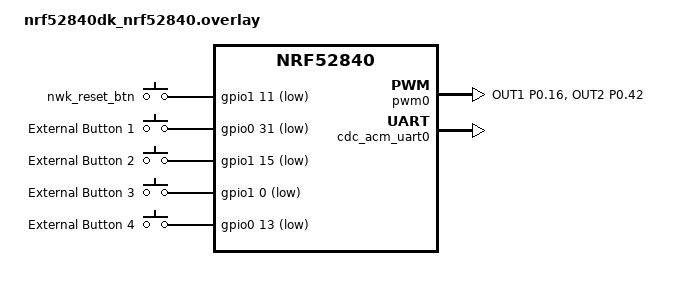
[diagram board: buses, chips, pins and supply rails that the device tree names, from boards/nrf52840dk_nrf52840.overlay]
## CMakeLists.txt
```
#
# Copyright (c) 2020 Nordic Semiconductor ASA
#
# SPDX-License-Identifier: LicenseRef-Nordic-5-Clause
#

cmake_minimum_required(VERSION 3.20.0)

find_package(Zephyr REQUIRED HINTS $ENV{ZEPHYR_BASE})

project("Zigbee coordinator")

# NORDIC SDK APP START
target_sources(app PRIVATE
  src/main.c
  src/usb_logging.c
  src/button_press_handler/button_press_handler.c
)
# NORDIC SDK APP END
```

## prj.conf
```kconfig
#
# Copyright (c) 2020 Nordic Semiconductor ASA
#
# SPDX-License-Identifier: LicenseRef-Nordic-5-Clause
#

CONFIG_NCS_SAMPLES_DEFAULTS=y

CONFIG_UART_INTERRUPT_DRIVEN=y
CONFIG_SERIAL=y
CONFIG_GPIO=y
CONFIG_PWM=y


# Debugger
CONFIG_DEBUG_OPTIMIZATIONS=y
CONFIG_DEBUG_THREAD_INFO=y

# Make sure printk is not printing to the UART console
CONFIG_CONSOLE=y

CONFIG_USE_SEGGER_RTT=n
CONFIG_RTT_CONSOLE=n
CONFIG_UART_CONSOLE=y



CONFIG_HEAP_MEM_POOL_SIZE=2048
CONFIG_MAIN_THREAD_PRIORITY=7

CONFIG_ZIGBEE=y
CONFIG_ZIGBEE_APP_UTILS=y
CONFIG_ZIGBEE_ROLE_END_DEVICE=y

# CONFIG_ZIGBEE_CHANNEL_SELECTION_MODE_SINGLE is not set
CONFIG_ZIGBEE_CHANNEL_SELECTION_MODE_MULTI=y
CONFIG_ZIGBEE_CHANNEL_MASK=0x7FFF800
# Enable DK LED and Buttons library
CONFIG_DK_LIBRARY=y

# This example requires more workqueue stack
CONFIG_SYSTEM_WORKQUEUE_STACK_SIZE=2048

# Enable nRF ECB driver
CONFIG_CRYPTO=y
CONFIG_CRYPTO_NRF_ECB=y
CONFIG_CRYPTO_INIT_PRIORITY=80

# Cryptocell is not supported through CSPRNG driver API: NCSDK-4813
CONFIG_ENTROPY_CC3XX=n

#Networking
CONFIG_NET_IPV6_MLD=n
CONFIG_NET_IPV6_NBR_CACHE=n
CONFIG_NET_IPV6_RA_RDNSS=n
CONFIG_NET_IP_ADDR_CHECK=n
CONFIG_NET_UDP=n

# Scene extension
CONFIG_ZIGBEE_SCENES=y

# CONFIG_LOG=y
# CONFIG_ZBOSS_TRACE_LOG_LEVEL_DBG=y
# CONFIG_ZBOSS_TRACE_MASK=0x0100

## START - USB LOGGING ON DONGLE
CONFIG_STDOUT_CONSOLE=y
CONFIG_USB_DEVICE_STACK=y
CONFIG_USB_DEVICE_PRODUCT="Zephyr CDC ACM sample"
CONFIG_LOG=y
CONFIG_USB_DRIVER_LOG_LEVEL_ERR=y
CONFIG_USB_DEVICE_LOG_LEVEL_ERR=y
CONFIG_SERIAL=y
CONFIG_UART_INTERRUPT_DRIVEN=y
CONFIG_UART_LINE_CTRL=y
## END - USB LOGGING ON DONGLE


# Enable API for powering down unused RAM parts
CONFIG_RAM_POWER_DOWN_LIBRARY=y


# Device power management
CONFIG_PM=y
CONFIG_PM_DEVICE=y
```

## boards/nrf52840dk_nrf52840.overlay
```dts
/*
 * Copyright (c) 2020 Nordic Semiconductor ASA
 *
 * SPDX-License-Identifier: LicenseRef-Nordic-5-Clause
 */

/ {
	chosen {
		zephyr,entropy = &rng;
	};

	pwmleds {
		pwm_led3: pwm_led_3 {
			pwms = <&pwm0 1 PWM_MSEC(20) PWM_POLARITY_INVERTED>; // P0.16 - DK LED4
		};
		ext_pwm_led: pwm_led_4 {
			pwms = <&pwm0 2 PWM_MSEC(20) PWM_POLARITY_NORMAL >; // P1.10 - external
		};
	};
    buttons {
        // Also external on the DK
        nwk_reset_btn: nwk_reset_btn {
            gpios = < &gpio1 11 0x11 >; // P1.11 (1.xx inferred by first element `gpio1`, y.11 is inferred by 0xb = 11)
            label = "nwk_reset_btn";
        };

        // External buttons
        ext_btn_1: ext_btn_1 {
            gpios = < &gpio0 31 0x11 >;
            label = "External Button 1";
        };

        ext_btn_2: ext_btn_2 {
            gpios = < &gpio1 15 0x11 >;
            label = "External Button 2";
        };

        ext_btn_3: ext_btn_3 {
            gpios = < &gpio1 0 0x11 >;
            label = "External Button 3";
        };

        ext_btn_4: ext_btn_4 {
            gpios = < &gpio0 13 0x11 >;
            label = "External Button 4";
        };
    };

    aliases {
		pwm-on-board = &pwm_led3;
		pwm-ext0 = &ext_pwm_led;
        presence-sensor = &nwk_reset_btn;
        nwk-reset-btn = &nwk_reset_btn;
    };
};

// Userd by button5
arduino_spi: &spi3 {
	status = "disabled";
};
// &pwm0 {
//     ch1-pin = < 16 >;
//     ch1-inverted;
//     ch2-pin = < 42 >;
//     ch2-inverted;
// };
&pwm0 {
	pinctrl-0 = <&pwm0_default_alt>;
	pinctrl-1 = <&pwm0_sleep_alt>;
	pinctrl-names = "default", "sleep";
};


&pinctrl {
    // The `alt` in the name is referring to this pinctrl being an alternative to the `pwm0_default` in the base device tree for the nrf52840 DK
 	pwm0_default_alt: pwm0_default_alt {
		group1 {
        // I think the items in psels need to be replicated in pwm0_sleep_alt and vice versa. Both bins should have a sleep and non sleep state defined
			psels = <NRF_PSEL(PWM_OUT1, 0, 16)>, // P0.16 - DK LED4
                    <NRF_PSEL(PWM_OUT2, 0, 42)>; // P1.10 - external
			nordic,invert;
		};
	};

	pwm0_sleep_alt: pwm0_sleep_alt {
		group1 {
			psels = <NRF_PSEL(PWM_OUT1, 0, 16)>, // P0.16 - DK LED4
                    <NRF_PSEL(PWM_OUT2, 0, 42)>; // P1.10 - external
			low-power-enable;
		};
	};

};

// This USB mode is only here so that it can be found in the usb_logging module. I was not sure how to get it working otherwise
&zephyr_udc0 {
	cdc_acm_uart0 {
		compatible = "zephyr,cdc-acm-uart";
		label = "CDC_ACM_0";
        // status = "okay";
	};
};
```

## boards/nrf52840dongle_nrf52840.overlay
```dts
/*
 * Copyright (c) 2021 Nordic Semiconductor ASA
 *
 * SPDX-License-Identifier: LicenseRef-Nordic-5-Clause
 */

/ {
	chosen {
		zephyr,entropy = &rng;
	};

	buttons {
		compatible = "gpio-keys";
		rst_button0: rst_button_0 { // Dongle docs indicates that the reset button is attached to P0.18, but it is connected to other pins too, including P0.19
			gpios = <&gpio0 19 (GPIO_PULL_UP | GPIO_ACTIVE_LOW)>; // P0.19
			label = "Reset button";
		};
        // ext_button0: ext_button_0 {
        //     // gpios = <&gpio0 29 (GPIO_PULL_UP | GPIO_ACTIVE_LOW)>;
        //     gpios = <&gpio1 0x06 (GPIO_PULL_UP | GPIO_ACTIVE_LOW)>; // P1.06
        //     label = "External button 0";
        // };

        // TODO: Disable the SPI peripheral that clashes with this button
        // External buttons
        ext_btn_1: ext_btn_1 {
            gpios = < &gpio0 31 0x11 >;
            label = "External Button 1";
        };

        ext_btn_2: ext_btn_2 {
            gpios = < &gpio1 15 0x11 >;
            label = "External Button 2";
        };

        ext_btn_3: ext_btn_3 {
            gpios = < &gpio1 0 0x11 >;
            label = "External Button 3";
        };

        ext_btn_4: ext_btn_4 {
            gpios = < &gpio0 13 0x11 >;
            label = "External Button 4";
        };
	};

    // Used by button5
    // &spi1 {
    //     status = "disabled";
    // };



    pwmleds {
		ext_pwm_led: pwm_led_3 { // pwm_led_3 is my own name for the external pwm led, to fit with the naming in the zephyr.dts file for the dongle
			// pwms = < &pwm0 42 >; // P1.10
			pwms = <&pwm0 3 PWM_MSEC(20) PWM_POLARITY_INVERTED >; // P1.10
		};
    };

	aliases {
        pwm-on-board = &blue_pwm_led;
        pwm-ext0 = &ext_pwm_led;
        nwk-reset-btn = &button0;
        // button-press-pwm-led = &red_pwm_led;
		rst0 = &rst_button0;
	};
};

// START - USB LOGGING ON DONGLE
&zephyr_udc0 {
	cdc_acm_uart0 {
		compatible = "zephyr,cdc-acm-uart";
		label = "CDC_ACM_0";
        // status = "okay";
	};
};
// END - USB LOGGING ON DONGLE


// &pwm0 {
//     ch3-pin = < 42 >; // P1.10
//     ch3-inverted;
// };

&pwm0 {
	pinctrl-0 = <&pwm0_default_alt>;
	pinctrl-1 = <&pwm0_sleep_alt>;
	pinctrl-names = "default", "sleep";
};


			// pwms = < &pwm0 42 >; // P1.10
&pinctrl {
	pwm0_default_alt: pwm0_default_alt {
		group1 {
			psels = <NRF_PSEL(PWM_OUT0, 0, 8)>,
				<NRF_PSEL(PWM_OUT1, 1, 9)>,
				<NRF_PSEL(PWM_OUT2, 0, 12)>,
				<NRF_PSEL(PWM_OUT3, 1, 10)>;
			nordic,invert;
		};
	};

	pwm0_sleep_alt: pwm0_sleep_alt {
		group1 {
			psels = <NRF_PSEL(PWM_OUT0, 0, 8)>,
				<NRF_PSEL(PWM_OUT1, 1, 9)>,
				<NRF_PSEL(PWM_OUT2, 0, 12)>,
				<NRF_PSEL(PWM_OUT3, 1, 10)>;
			low-power-enable;
		};
	};
};
```

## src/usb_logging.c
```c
#include <stdio.h>
#include <string.h>
#include <device.h>
#include <drivers/uart.h>
#include <zephyr.h>
#include <sys/ring_buffer.h>

#include <usb/usb_device.h>
#include <logging/log.h>

LOG_MODULE_REGISTER(cdc_acm_echo, LOG_LEVEL_INF);

#define RING_BUF_SIZE 1024
uint8_t ring_buffer[RING_BUF_SIZE];

struct ring_buf ringbuf;

static void interrupt_handler(const struct device *dev, void *user_data)
{
	ARG_UNUSED(user_data);

	while (uart_irq_update(dev) && uart_irq_is_pending(dev)) {
		if (uart_irq_rx_ready(dev)) {
			int recv_len, rb_len;
			uint8_t buffer[64];
			size_t len = MIN(ring_buf_space_get(&ringbuf),
					 sizeof(buffer));

			recv_len = uart_fifo_read(dev, buffer, len);
			if (recv_len < 0) {
				LOG_ERR("Failed to read UART FIFO");
				recv_len = 0;
			};

			rb_len = ring_buf_put(&ringbuf, buffer, recv_len);
			if (rb_len < recv_len) {
				LOG_ERR("Drop %u bytes", recv_len - rb_len);
			}

			LOG_DBG("tty fifo -> ringbuf %d bytes", rb_len);
			if (rb_len) {
				uart_irq_tx_enable(dev);
			}
		}

		if (uart_irq_tx_ready(dev)) {
			uint8_t buffer[64];
			int rb_len, send_len;

			rb_len = ring_buf_get(&ringbuf, buffer, sizeof(buffer));
			if (!rb_len) {
				LOG_DBG("Ring buffer empty, disable TX IRQ");
				uart_irq_tx_disable(dev);
				continue;
			}

			send_len = uart_fifo_fill(dev, buffer, rb_len);
			if (send_len < rb_len) {
				LOG_ERR("Drop %d bytes", rb_len - send_len);
			}

			LOG_DBG("ringbuf -> tty fifo %d bytes", send_len);
		}
	}
}


void usb_logging_init() {
    const struct device *dev;
	uint32_t baudrate, dtr = 0U;
	int ret;

	dev = DEVICE_DT_GET_ONE(zephyr_cdc_acm_uart);
	if (!device_is_ready(dev)) {
		LOG_ERR("CDC ACM device not ready");
		return;
	}

	ret = usb_enable(NULL);
	if (ret != 0) {
		LOG_ERR("Failed to enable USB");
		return;
	}

	ring_buf_init(&ringbuf, sizeof(ring_buffer), ring_buffer);

	LOG_INF("Wait for DTR");

	while (true) {
		uart_line_ctrl_get(dev, UART_LINE_CTRL_DTR, &dtr);
		if (dtr) {
			break;
		} else {
			/* Give CPU resources to low priority threads. */
			k_sleep(K_MSEC(100));
		}
	}

	LOG_INF("DTR set");

	/* They are optional, we use them to test the interrupt endpoint */
	ret = uart_line_ctrl_set(dev, UART_LINE_CTRL_DCD, 1);
	if (ret) {
		LOG_WRN("Failed to set DCD, ret code %d", ret);
	}

	ret = uart_line_ctrl_set(dev, UART_LINE_CTRL_DSR, 1);
	if (ret) {
		LOG_WRN("Failed to set DSR, ret code %d", ret);
	}

	/* Wait 1 sec for the host to do all settings */
	k_busy_wait(1000000);

	ret = uart_line_ctrl_get(dev, UART_LINE_CTRL_BAUD_RATE, &baudrate);
	if (ret) {
		LOG_WRN("Failed to get baudrate, ret code %d", ret);
	} else {
		LOG_INF("Baudrate detected: %d", baudrate);
	}

	uart_irq_callback_set(dev, interrupt_handler);

	/* Enable rx interrupts */
	uart_irq_rx_enable(dev);
}
```

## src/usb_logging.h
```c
/*
 * Copyright (c) 2022 Nordic Semiconductor ASA
 *
 * SPDX-License-Identifier: LicenseRef-Nordic-5-Clause
 */

#ifndef USB_LOGGING_H
#define USB_LOGGING_H 1

void usb_logging_init();

#endif /* USB_LOGGING_H */
```

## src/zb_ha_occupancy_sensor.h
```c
#ifndef ZB_ZCL_OCCUPANCY_SENSOR_H
#define ZB_ZCL_OCCUPANCY_SENSOR_H 1

#include <zb_zcl_occupancy_sensing.h>

// Declaring a cluster list, which includes declaring multiple clusters
// TODO: This probably shouldn't be here
#define ZB_HA_DECLARE_OCCUPANCY_SENSING_CLUSTER_LIST(            \
  cluster_list_name,                                             \
  basic_attr_list,                                               \
  identify_attr_list,                                            \
  occupancy_sensing_attr_list)                                   \
  zb_zcl_cluster_desc_t cluster_list_name[] =                    \
  {                                                              \
    ZB_ZCL_CLUSTER_DESC(                                         \
      ZB_ZCL_CLUSTER_ID_IDENTIFY,                                \
      ZB_ZCL_ARRAY_SIZE(identify_attr_list, zb_zcl_attr_t),      \
      (identify_attr_list),                                      \
      ZB_ZCL_CLUSTER_SERVER_ROLE,                                \
      ZB_ZCL_MANUF_CODE_INVALID                                  \
    ),                                                           \
    ZB_ZCL_CLUSTER_DESC(                                         \
      ZB_ZCL_CLUSTER_ID_BASIC,                                   \
      ZB_ZCL_ARRAY_SIZE(basic_attr_list, zb_zcl_attr_t),         \
      (basic_attr_list),                                         \
      ZB_ZCL_CLUSTER_SERVER_ROLE,                                \
      ZB_ZCL_MANUF_CODE_INVALID                                  \
    ),                                                           \
    ZB_ZCL_CLUSTER_DESC(                                         \
      ZB_ZCL_CLUSTER_ID_OCCUPANCY_SENSING,                       \
      ZB_ZCL_ARRAY_SIZE(occupancy_sensing_attr_list, zb_zcl_attr_t),     \
      (occupancy_sensing_attr_list),                             \
      ZB_ZCL_CLUSTER_SERVER_ROLE,                                \
      ZB_ZCL_MANUF_CODE_INVALID                                  \
    )                                                            \
  }

/** @cond internals_doc */

#define ZB_HA_OCCUPANCY_SENSING_IN_CLUSTER_NUM 3  /*!< Occupancy Sensing IN (server) clusters number */
#define ZB_HA_OCCUPANCY_SENSING_OUT_CLUSTER_NUM 0 /*!< Occupancy Sensing OUT (client) clusters number */

/** Occupancy sensing total (IN+OUT) cluster number */
#define ZB_HA_OCCUPANCY_SENSING_CLUSTER_NUM                                \
  (ZB_HA_OCCUPANCY_SENSING_IN_CLUSTER_NUM +  ZB_HA_OCCUPANCY_SENSING_OUT_CLUSTER_NUM)

/*! Number of attribute for reporting on Occupancy Sensing device */
#define ZB_HA_OCCUPANCY_SENSING_REPORT_ATTR_COUNT         \
  (ZB_ZCL_OCCUPANCY_SENSING_REPORT_ATTR_COUNT)

/** @endcond */


// https://www.nxp.com/docs/en/user-guide/JN-UG-3076.pdf
#define ZB_HA_OCCUPANCY_SENSING_DEVICE_ID  0x107
#define ZB_HA_DEVICE_VER_OCCUPANCY_SENSING 1

/*! @cond internals_doc */
/*!
  @brief Declare simple descriptor for Occupancy Sensing device
  @param ep_name - endpoint variable name
  @param ep_id - endpoint ID
  @param in_clust_num - number of supported input clusters
  @param out_clust_num - number of supported output clusters
*/
#define ZB_ZCL_DECLARE_HA_OCCUPANCY_SENSING_SIMPLE_DESC(ep_name, ep_id, in_clust_num, out_clust_num) \
  ZB_DECLARE_SIMPLE_DESC(in_clust_num, out_clust_num);                                         \
  ZB_AF_SIMPLE_DESC_TYPE(in_clust_num, out_clust_num) simple_desc_##ep_name =                  \
  {                                                                                            \
    ep_id,                                                                                     \
    ZB_AF_HA_PROFILE_ID,                                                                       \
    ZB_HA_OCCUPANCY_SENSING_DEVICE_ID,                                                            \
    ZB_HA_DEVICE_VER_OCCUPANCY_SENSING,                                                           \
    0,                                                                                         \
    in_clust_num,                                                                              \
    out_clust_num,                                                                             \
    {                                                                                          \
      ZB_ZCL_CLUSTER_ID_BASIC,                                                                 \
      ZB_ZCL_CLUSTER_ID_IDENTIFY,                                                              \
      ZB_ZCL_CLUSTER_ID_OCCUPANCY_SENSING,                                                     \
    }                                                                                          \
  }


/*!
  @brief Declare endpoint for Occupancy Sensing device
  @param ep_name - endpoint variable name
  @param ep_id - endpoint ID
  @param cluster_list - endpoint cluster list
  @param device_ctx_name - device context name (to avoid name collisions)
 */
/* TODO: add scenes? */
#define ZB_HA_DECLARE_OCCUPANCY_SENSING_EP(ep_name, ep_id, cluster_list, device_ctx_name)            \
  ZB_ZCL_DECLARE_HA_OCCUPANCY_SENSING_SIMPLE_DESC(ep_name, ep_id,                      \
      ZB_HA_OCCUPANCY_SENSING_IN_CLUSTER_NUM, ZB_HA_OCCUPANCY_SENSING_OUT_CLUSTER_NUM); \
  ZBOSS_DEVICE_DECLARE_REPORTING_CTX(reporting_info## device_ctx_name,          \
                                     ZB_HA_OCCUPANCY_SENSING_REPORT_ATTR_COUNT);    \
  ZB_AF_DECLARE_ENDPOINT_DESC(ep_name, ep_id, ZB_AF_HA_PROFILE_ID, 0, NULL, \
    ZB_ZCL_ARRAY_SIZE(cluster_list, zb_zcl_cluster_desc_t), cluster_list,       \
                           (zb_af_simple_desc_1_1_t*)&simple_desc_##ep_name,    \
                           ZB_HA_OCCUPANCY_SENSING_REPORT_ATTR_COUNT,               \
                           reporting_info## device_ctx_name, 0, NULL)



#endif /* ZB_ZCL_OCCUPANCY_SENSOR_H */
```

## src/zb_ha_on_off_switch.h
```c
/*
 * ZBOSS Zigbee 3.0
 *
 * Copyright (c) 2012-2021 DSR Corporation, Denver CO, USA.
 * www.dsr-zboss.com
 * www.dsr-corporation.com
 * All rights reserved.
 *
 *
 * Use in source and binary forms, redistribution in binary form only, with
 * or without modification, are permitted provided that the following conditions
 * are met:
 *
 * 1. Redistributions in binary form, except as embedded into a Nordic
 *    Semiconductor ASA integrated circuit in a product or a software update for
 *    such product, must reproduce the above copyright notice, this list of
 *    conditions and the following disclaimer in the documentation and/or other
 *    materials provided with the distribution.
 *
 * 2. Neither the name of Nordic Semiconductor ASA nor the names of its
 *    contributors may be used to endorse or promote products derived from this
 *    software without specific prior written permission.
 *
 * 3. This software, with or without modification, must only be used with a Nordic
 *    Semiconductor ASA integrated circuit.
 *
 * 4. Any software provided in binary form under this license must not be reverse
 *    engineered, decompiled, modified and/or disassembled.
 *
 * THIS SOFTWARE IS PROVIDED BY NORDIC SEMICONDUCTOR ASA "AS IS" AND ANY EXPRESS OR
 * IMPLIED WARRANTIES, INCLUDING, BUT NOT LIMITED TO, THE IMPLIED WARRANTIES OF
 * MERCHANTABILITY, NONINFRINGEMENT, AND FITNESS FOR A PARTICULAR PURPOSE ARE
 * DISCLAIMED. IN NO EVENT SHALL NORDIC SEMICONDUCTOR ASA OR CONTRIBUTORS BE LIABLE
 * FOR ANY DIRECT, INDIRECT, INCIDENTAL, SPECIAL, EXEMPLARY, OR CONSEQUENTIAL
 * DAMAGES (INCLUDING, BUT NOT LIMITED TO, PROCUREMENT OF SUBSTITUTE GOODS OR
 * SERVICES; LOSS OF USE, DATA, OR PROFITS; OR BUSINESS INTERRUPTION) HOWEVER
 * CAUSED AND ON ANY THEORY OF LIABILITY, WHETHER IN CONTRACT, STRICT LIABILITY, OR
 * TORT (INCLUDING NEGLIGENCE OR OTHERWISE) ARISING IN ANY WAY OUT OF THE USE OF
 * THIS SOFTWARE, EVEN IF ADVISED OF THE POSSIBILITY OF SUCH DAMAGE.
 */
/* PURPOSE: On/off switch device definition
*/
#ifndef ZB_HA_ON_OFF_SWITCH_H
#define ZB_HA_ON_OFF_SWITCH_H 1

#if 1 || defined DOXYGEN

/** @cond DOXYGEN_HA_SECTION */

/**
 *  @defgroup ha_on_off_switch On/Off Switch
 *  @ingroup ZB_HA_DEVICES
    @{
    @details
    On/Off Switch device has 6 clusters (see spec 7.4.1): \n
        - @ref ZB_ZCL_IDENTIFY \n
        - @ref ZB_ZCL_BASIC \n
        - @ref ZB_ZCL_OOSC \n
        - @ref ZB_ZCL_ON_OFF \n
        - @ref ZB_ZCL_SCENES \n
        - @ref ZB_ZCL_GROUPS

    On/Off Switch device sample

    @par Example

    - Declaring clusters:

        @snippet HA_samples/common/zcl_basic_attr_list.h BASIC_CLUSTER_COMMON
        @snippet HA_samples/on_off_switch/sample_zc.c COMMON_DECLARATION

    - Registering device list:

        @snippet HA_samples/on_off_switch/sample_zc.c REGISTER

    - Example of command handler:

        @snippet HA_samples/on_off_switch/sample_zc.c COMMAND_HANDLER
        @snippet HA_samples/on_off_switch/sample_zc.c ZCL_COMMAND_HANDLER

    @par
*/

/** @cond internals_doc */
#define ZB_HA_DEVICE_VER_ON_OFF_SWITCH 0  /*!< On/Off Switch device version */

#define ZB_HA_ON_OFF_SWITCH_IN_CLUSTER_NUM 3  /*!< On/Off switch IN clusters number */
#define ZB_HA_ON_OFF_SWITCH_OUT_CLUSTER_NUM 4 /*!< On/Off switch OUT clusters number */

#define ZB_HA_ON_OFF_SWITCH_CLUSTER_NUM                                      \
  (ZB_HA_ON_OFF_SWITCH_IN_CLUSTER_NUM + ZB_HA_ON_OFF_SWITCH_OUT_CLUSTER_NUM)

/*! Number of attribute for reporting on On/Off switch device */
#define ZB_HA_ON_OFF_SWITCH_REPORT_ATTR_COUNT \
  (ZB_ZCL_ON_OFF_SWITCH_CONFIG_REPORT_ATTR_COUNT)

/** @endcond */

/** @brief Declare cluster list for On/Off switch device
    @param cluster_list_name - cluster list variable name
    @param on_off_switch_config_attr_list - attribute list for On/off switch configuration cluster
    @param basic_attr_list - attribute list for Basic cluster
    @param identify_attr_list - attribute list for Identify cluster
 */
#define ZB_HA_DECLARE_ON_OFF_SWITCH_CLUSTER_LIST(                           \
      cluster_list_name,                                                    \
      on_off_switch_config_attr_list,                                       \
      basic_attr_list,                                                      \
      identify_attr_list)                                                   \
      zb_zcl_cluster_desc_t cluster_list_name[] =                           \
      {                                                                     \
        ZB_ZCL_CLUSTER_DESC(                                                \
          ZB_ZCL_CLUSTER_ID_ON_OFF_SWITCH_CONFIG,                           \
          ZB_ZCL_ARRAY_SIZE(on_off_switch_config_attr_list, zb_zcl_attr_t), \
          (on_off_switch_config_attr_list),                                 \
          ZB_ZCL_CLUSTER_SERVER_ROLE,                                       \
          ZB_ZCL_MANUF_CODE_INVALID                                         \
        ),                                                                  \
        ZB_ZCL_CLUSTER_DESC(                                                \
          ZB_ZCL_CLUSTER_ID_IDENTIFY,                                       \
          ZB_ZCL_ARRAY_SIZE(identify_attr_list, zb_zcl_attr_t),             \
          (identify_attr_list),                                             \
          ZB_ZCL_CLUSTER_SERVER_ROLE,                                        \
          ZB_ZCL_MANUF_CODE_INVALID                                         \
        ),                                                                  \
        ZB_ZCL_CLUSTER_DESC(                                                \
          ZB_ZCL_CLUSTER_ID_BASIC,                                          \
          ZB_ZCL_ARRAY_SIZE(basic_attr_list, zb_zcl_attr_t),                \
          (basic_attr_list),                                                \
          ZB_ZCL_CLUSTER_SERVER_ROLE,                                       \
          ZB_ZCL_MANUF_CODE_INVALID                                         \
        ),                                                                  \
        ZB_ZCL_CLUSTER_DESC(                                                \
          ZB_ZCL_CLUSTER_ID_ON_OFF,                                         \
          0,                                                                \
          NULL,                                                             \
          ZB_ZCL_CLUSTER_CLIENT_ROLE,                                       \
          ZB_ZCL_MANUF_CODE_INVALID                                         \
        ),                                                                  \
        ZB_ZCL_CLUSTER_DESC(                                                \
          ZB_ZCL_CLUSTER_ID_SCENES,                                         \
          0,                                                                \
          NULL,                                                             \
          ZB_ZCL_CLUSTER_CLIENT_ROLE,                                       \
          ZB_ZCL_MANUF_CODE_INVALID                                         \
        ),                                                                  \
        ZB_ZCL_CLUSTER_DESC(                                            \
          ZB_ZCL_CLUSTER_ID_IDENTIFY,                                       \
          0,                                                                \
          NULL,                                                             \
          ZB_ZCL_CLUSTER_CLIENT_ROLE,                                       \
          ZB_ZCL_MANUF_CODE_INVALID                                         \
        ),                                                              \
        ZB_ZCL_CLUSTER_DESC(                                                \
          ZB_ZCL_CLUSTER_ID_GROUPS,                                         \
          0,                                                                \
          NULL,                                                             \
          ZB_ZCL_CLUSTER_CLIENT_ROLE,                                       \
          ZB_ZCL_MANUF_CODE_INVALID                                         \
        )                                                                   \
    }


#define __CAT_VA__(a, b, ...)                               a## __VA_ARGS__## b

#if 0

// The following is here only for reference to create multiple endpoints of the same type (on off switch)

/**@brief Redefinition of ZB_AF_SIMPLE_DESC_TYPE as variadic macro.
 *
 * @param[in]  in_num   Number of input clusters.
 * @param[in]  out_num  Number of output clusters.
 * @param[in]  ...      Optional argument to concatenate to the type name.
 */
#define ZB_AF_SIMPLE_DESC_TYPE_VA(in_num, out_num, ...)     __CAT_VA__(zb_af_simple_desc_, _t, __VA_ARGS__)

/**@brief Redefinition of ZB_DECLARE_SIMPLE_DESC as variadic macro.
 *
 * @param[in]  in_clusters_count   Number of input clusters.
 * @param[in]  out_clusters_count  Number of output clusters.
 * @param[in]  ...                 Optional argument to concatenate to the type name.
 */
#define ZB_DECLARE_SIMPLE_DESC_VA(in_clusters_count, out_clusters_count, ...)             \
  typedef ZB_PACKED_PRE struct zb_af_simple_desc_## __VA_ARGS__## _s                      \
  {                                                                                       \
    zb_uint8_t    endpoint;                 /* Endpoint */                                \
    zb_uint16_t   app_profile_id;           /* Application profile identifier */          \
    zb_uint16_t   app_device_id;            /* Application device identifier */           \
    zb_bitfield_t app_device_version:4;     /* Application device version */              \
    zb_bitfield_t reserved:4;               /* Reserved */                                \
    zb_uint8_t    app_input_cluster_count;  /* Application input cluster count */         \
    zb_uint8_t    app_output_cluster_count; /* Application output cluster count */        \
    /* Application input and output cluster list */                                       \
    zb_uint16_t   app_cluster_list[(in_clusters_count) + (out_clusters_count)];           \
    zb_uint8_t    cluster_encryption[((in_clusters_count) + (out_clusters_count) + 7)/8]; \
  } ZB_PACKED_STRUCT zb_af_simple_desc_## __VA_ARGS__## _t


#endif

/** @cond DOXYGEN_INTERNAL_DOC */
#define CAT5(a, b, c, d, e) a##b##c##d##e
/** @endcond */ /* DOXYGEN_INTERNAL_DOC */

/** Generate simple descriptor type name */
// #define ZB_AF_SIMPLE_DESC_TYPE_VA(in_num, out_num, ...)  CAT5(zb_af_simple_desc_,in_num,_,out_num,_t)
#define ZB_AF_SIMPLE_DESC_TYPE_VA(in_num, out_num, ...)  __CAT_VA__(zb_af_simple_desc_,_t, __VA_ARGS__)

// ZB_AF_SIMPLE_DESC_TYPE_VA(1,2,aaa)

/**
   Declares Simple descriptor type

   @param in_clusters_count - number of input clusters in descriptor
   @param out_clusters_count - number of output clusters in descriptor

   @b Example:
   @code
     ZB_DECLARE_SIMPLE_DESC(5, 5);
   @endcode
 */

#define ZB_DECLARE_SIMPLE_DESC_VA(in_clusters_count, out_clusters_count, ...)   \
  typedef ZB_PACKED_PRE struct zb_af_simple_desc_## __VA_ARGS__## _s \
  {                                                                                       \
    zb_uint8_t    endpoint;                 /* Endpoint */                                \
    zb_uint16_t   app_profile_id;           /* Application profile identifier */          \
    zb_uint16_t   app_device_id;            /* Application device identifier */           \
    zb_bitfield_t app_device_version:4;     /* Application device version */              \
    zb_bitfield_t reserved:4;               /* Reserved */                                \
    zb_uint8_t    app_input_cluster_count;  /* Application input cluster count */         \
    zb_uint8_t    app_output_cluster_count; /* Application output cluster count */        \
    /* Application input and output cluster list */                                       \
    zb_uint16_t   app_cluster_list[(in_clusters_count) + (out_clusters_count)];               \
  } ZB_PACKED_STRUCT                                                                      \
  zb_af_simple_desc_## __VA_ARGS__## _t


/** @cond internals_doc */
/** @brief Declare simple descriptor for On/Off switch device
    @param ep_name - endpoint variable name
    @param ep_id - endpoint ID
    @param in_clust_num - number of supported input clusters
    @param out_clust_num - number of supported output clusters
    @note in_clust_num, out_clust_num should be defined by numeric constants, not variables or any
    definitions, because these values are used to form simple descriptor type name
*/
#define ZB_ZCL_DECLARE_ON_OFF_SWITCH_SIMPLE_DESC(ep_name, ep_id, in_clust_num, out_clust_num) \
  ZB_DECLARE_SIMPLE_DESC_VA(in_clust_num, out_clust_num, ep_name);                                        \
  ZB_AF_SIMPLE_DESC_TYPE_VA(in_clust_num, out_clust_num, ep_name) simple_desc_##ep_name =                 \
  {                                                                                           \
    ep_id,                                                                                    \
    ZB_AF_HA_PROFILE_ID,                                                                      \
    ZB_HA_ON_OFF_SWITCH_DEVICE_ID,                                                            \
    ZB_HA_DEVICE_VER_ON_OFF_SWITCH,                                                           \
    0,                                                                                        \
    in_clust_num,                                                                             \
    out_clust_num,                                                                            \
    {                                                                                         \
      ZB_ZCL_CLUSTER_ID_BASIC,                                                                \
      ZB_ZCL_CLUSTER_ID_IDENTIFY,                                                             \
      ZB_ZCL_CLUSTER_ID_ON_OFF_SWITCH_CONFIG,                                                 \
      ZB_ZCL_CLUSTER_ID_ON_OFF,                                                               \
      ZB_ZCL_CLUSTER_ID_SCENES,                                                               \
      ZB_ZCL_CLUSTER_ID_GROUPS,                                         \
      ZB_ZCL_CLUSTER_ID_IDENTIFY,                                       \
    }                                                                                         \
  }

/** @endcond */

/** @brief Declare endpoint for On/off Switch device
    @param ep_name - endpoint variable name
    @param ep_id - endpoint ID
    @param cluster_list - endpoint cluster list
 */
#define ZB_HA_DECLARE_ON_OFF_SWITCH_EP(ep_name, ep_id, cluster_list) \
  ZB_ZCL_DECLARE_ON_OFF_SWITCH_SIMPLE_DESC(                          \
      ep_name,                                                       \
      ep_id,                                                         \
      ZB_HA_ON_OFF_SWITCH_IN_CLUSTER_NUM,                            \
      ZB_HA_ON_OFF_SWITCH_OUT_CLUSTER_NUM);                          \
  ZB_AF_DECLARE_ENDPOINT_DESC(ep_name,                                  \
                              ep_id,                                    \
      ZB_AF_HA_PROFILE_ID,                                           \
      0,                                                             \
      NULL,                                                          \
      ZB_ZCL_ARRAY_SIZE(cluster_list, zb_zcl_cluster_desc_t),        \
      cluster_list,                                                  \
      (zb_af_simple_desc_1_1_t*)&simple_desc_##ep_name, \
      0, NULL, /* No reporting ctx */           \
      0, NULL) /* No CVC ctx */

/** @brief Declare On/Off Switch device context.
    @param device_ctx - device context variable name.
    @param ep_name - endpoint variable name.
*/
#define ZB_HA_DECLARE_ON_OFF_SWITCH_CTX(device_ctx, ep_name) \
  ZBOSS_DECLARE_DEVICE_CTX_1_EP(device_ctx, ep_name)


/*! @} */

/** @endcond */ /* DOXYGEN_HA_SECTION */

#endif /* ZB_HA_DEFINE_DEVICE_ON_OFF_SWITCH */

#endif /* ZB_HA_ON_OFF_SWITCH_H */
```

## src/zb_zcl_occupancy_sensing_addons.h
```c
#ifndef ZB_ZCL_OCCUPANCY_SENSING_ADDONS_H
#define ZB_ZCL_OCCUPANCY_SENSING_ADDONS_H 1

#include <zb_zcl_occupancy_sensing.h>

typedef struct
{
    enum zb_zcl_occupancy_sensing_occupancy_e  occupancy;
    enum zb_zcl_occupancy_sensing_occupancy_sensor_type_e  sensor_type;
    uint16_t bitmap;
} zb_zcl_occupancy_sensing_attrs_t;

#endif /* ZB_ZCL_OCCUPANCY_SENSING_ADDONS_H */
```

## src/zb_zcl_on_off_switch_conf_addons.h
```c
#ifndef ZB_ZCL_ON_OFF_SWITCH_CONFIGURATION_ADDONS_H
#define ZB_ZCL_ON_OFF_SWITCH_CONFIGURATION_ADDONS_H 1

#include <zb_zcl_on_off_switch_conf.h>

typedef struct
{
    enum zb_zcl_on_off_switch_configuration_switch_type_e switch_type;
    enum zb_zcl_on_off_switch_configuration_switch_actions_e switch_actions;
} zb_zcl_on_off_switch_configuration_attrs_t;

#endif /* ZB_ZCL_ON_OFF_SWITCH_CONFIGURATION_ADDONS_H */
```

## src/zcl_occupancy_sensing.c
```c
// #include "zb_common.h"

// #if defined (ZB_ZCL_SUPPORT_CLUSTER_OCCUPANCY_SENSING)

// #include "zb_zcl.h"
// #include "zb_aps.h"
// #include "/zboss/src/include/zb_zcl.h"
// #include "/zboss/src/include/zb_aps.h"
#include <zboss_api.h>
#include <zb_zcl_occupancy_sensing.h>
#include "zcl/zb_zcl_common.h"

zb_ret_t check_value_occupancy_sensing_server(zb_uint16_t attr_id, zb_uint8_t endpoint, zb_uint8_t *value);
void zb_zcl_occupancy_sensing_write_attr_hook_server(zb_uint8_t endpoint, zb_uint16_t attr_id, zb_uint8_t *new_value);

void zb_zcl_occupancy_sensing_init_server()
{
  zb_zcl_add_cluster_handlers(ZB_ZCL_CLUSTER_ID_OCCUPANCY_SENSING,
                              ZB_ZCL_CLUSTER_SERVER_ROLE,
                              check_value_occupancy_sensing_server,
                              (zb_zcl_cluster_write_attr_hook_t)NULL,
                              (zb_zcl_cluster_handler_t)NULL);
}

void zb_zcl_occupancy_sensing_init_client()
{
  zb_zcl_add_cluster_handlers(ZB_ZCL_CLUSTER_ID_OCCUPANCY_SENSING,
                              ZB_ZCL_CLUSTER_CLIENT_ROLE,
                              (zb_zcl_cluster_check_value_t)NULL,
                              (zb_zcl_cluster_write_attr_hook_t)NULL,
                              (zb_zcl_cluster_handler_t)NULL);
}

zb_ret_t check_value_occupancy_sensing_server(zb_uint16_t attr_id, zb_uint8_t endpoint, zb_uint8_t *value)
{
  zb_ret_t ret = RET_OK;
  zb_int16_t val = ZB_ZCL_ATTR_GETS16(value);

  TRACE_MSG(TRACE_ZCL1, "> check_value_occupancy_sensing, attr_id %d, val %d",
      (FMT__D_D, attr_id, val));

  ret = RET_OK;
//   switch( attr_id )
//   {
//     case ZB_ZCL_ATTR_OCCUPANCY_SENSING_VALUE_ID:
//       if( ZB_ZCL_ATTR_OCCUPANCY_SENSING_VALUE_UNKNOWN == val )
//       {
//         ret = RET_OK;
//       }
//       else
//       {
//         zb_zcl_attr_t *attr_desc = zb_zcl_get_attr_desc_a(endpoint,
//         ZB_ZCL_CLUSTER_ID_OCCUPANCY_SENSING, ZB_ZCL_CLUSTER_SERVER_ROLE, ZB_ZCL_ATTR_OCCUPANCY_SENSING_MIN_VALUE_ID);
//         ZB_ASSERT(attr_desc);
//
//         ret = (ZB_ZCL_GET_ATTRIBUTE_VAL_S16(attr_desc) == ZB_ZCL_ATTR_OCCUPANCY_SENSING_MIN_VALUE_INVALID ||
//                ZB_ZCL_GET_ATTRIBUTE_VAL_S16(attr_desc) <= val)
//               ? RET_OK : RET_ERROR;
//
//         if(ret)
//         {
//           attr_desc = zb_zcl_get_attr_desc_a(endpoint,
//           ZB_ZCL_CLUSTER_ID_OCCUPANCY_SENSING, ZB_ZCL_CLUSTER_SERVER_ROLE, ZB_ZCL_ATTR_OCCUPANCY_SENSING_MAX_VALUE_ID);
//           ZB_ASSERT(attr_desc);
//
//           ret = ZB_ZCL_GET_ATTRIBUTE_VAL_S16(attr_desc) == ZB_ZCL_ATTR_OCCUPANCY_SENSING_MAX_VALUE_INVALID ||
//                 val <= ZB_ZCL_GET_ATTRIBUTE_VAL_S16(attr_desc)
//             ? RET_OK : RET_ERROR;
//         }
//       }
//       break;
//
//     case ZB_ZCL_ATTR_OCCUPANCY_SENSING_MIN_VALUE_ID:
//       ret = ( (ZB_ZCL_ATTR_OCCUPANCY_SENSING_MIN_VALUE_MIN_VALUE <= val) &&
//               (val <= ZB_ZCL_ATTR_OCCUPANCY_SENSING_MIN_VALUE_MAX_VALUE) ) ||
//             (ZB_ZCL_ATTR_OCCUPANCY_SENSING_MIN_VALUE_INVALID == val)
//               ? RET_OK : RET_ERROR;
//       break;
//
//     case ZB_ZCL_ATTR_OCCUPANCY_SENSING_MAX_VALUE_ID:
//       ret = ((ZB_ZCL_ATTR_OCCUPANCY_SENSING_MAX_VALUE_MIN_VALUE <= val
// #if ZB_ZCL_ATTR_OCCUPANCY_SENSING_MAX_VALUE_MAX_VALUE != 0x7fff
//               && val <= ZB_ZCL_ATTR_OCCUPANCY_SENSING_MAX_VALUE_MAX_VALUE
// #endif
//           ) || (ZB_ZCL_ATTR_OCCUPANCY_SENSING_MAX_VALUE_INVALID == val))
//               ? RET_OK : RET_ERROR;
//       break;
//
//     /* TODO: case ZB_ZCL_ATTR_OCCUPANCY_SENSING_TOLERANCE_ID */
//
//     default:
//       break;
//   }

  TRACE_MSG(TRACE_ZCL1, "< check_value_occupancy_sensing ret %hd", (FMT__H, ret));
  return ret;
}

void zb_zcl_occupancy_sensing_write_attr_hook_server(
  zb_uint8_t endpoint, zb_uint16_t attr_id, zb_uint8_t *new_value)
{
	ZVUNUSED(new_value);
  ZVUNUSED(endpoint);

  TRACE_MSG(TRACE_ZCL1, ">> zb_zcl_occupancy_sensing_write_attr_hook endpoint %hd, attr_id %d",
            (FMT__H_D, endpoint, attr_id));

  if (attr_id == ZB_ZCL_ATTR_OCCUPANCY_SENSING_OCCUPANCY_ID)
  {
	  /* TODO Change min/max temperature by current are not agree
	   * spec/
	   * Need consult with customer !*/
  }

  TRACE_MSG(TRACE_ZCL1, "<< zb_zcl_occupancy_sensing_write_attr_hook", (FMT__0));
}

// #endif /* ZB_ZCL_SUPPORT_CLUSTER_OCCUPANCY_SENSING */
```

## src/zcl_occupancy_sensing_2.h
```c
/* PURPOSE: Occupancy Sensing cluster definitions
*/

#ifndef ZB_ZCL_OCCUPANCY_SENSING_2_H
#define ZB_ZCL_OCCUPANCY_SENSING_2_H 1

// #include "zcl/zb_zcl_common.h"
// #include "zcl/zb_zcl_commands.h"
#include <zb_zcl_occupancy_sensing.h>

#define ZB_ZCL_DECLARE_OCCUPANCY_SENSING_ATTRIB_LIST_2(attr_list, occupancy, occupancy_sensor_type, occupancy_sensor_type_bitmap) \
  ZB_ZCL_START_DECLARE_ATTRIB_LIST(attr_list)                                                                                   \
  ZB_ZCL_SET_ATTR_DESC(ZB_ZCL_ATTR_OCCUPANCY_SENSING_OCCUPANCY_ID, (occupancy))                                                 \
  ZB_ZCL_SET_ATTR_DESC(ZB_ZCL_ATTR_OCCUPANCY_SENSING_OCCUPANCY_SENSOR_TYPE_ID, (occupancy_sensor_type))                         \
  ZB_ZCL_FINISH_DECLARE_ATTRIB_LIST

void zb_zcl_occupancy_sensing_init_server(void);
void zb_zcl_occupancy_sensing_init_client(void);

#undef ZB_ZCL_CLUSTER_ID_OCCUPANCY_SENSING_SERVER_ROLE_INIT
#undef ZB_ZCL_CLUSTER_ID_OCCUPANCY_SENSING_CLIENT_ROLE_INIT

#define ZB_ZCL_CLUSTER_ID_OCCUPANCY_SENSING_SERVER_ROLE_INIT zb_zcl_occupancy_sensing_init_server
#define ZB_ZCL_CLUSTER_ID_OCCUPANCY_SENSING_CLIENT_ROLE_INIT zb_zcl_occupancy_sensing_init_client

#endif /* ZB_ZCL_OCCUPANCY_SENSING_2_H */
```
